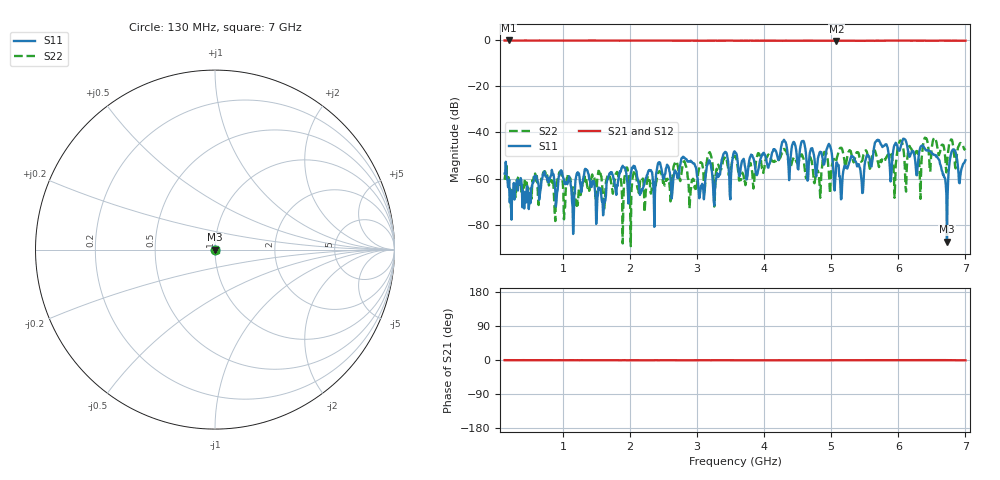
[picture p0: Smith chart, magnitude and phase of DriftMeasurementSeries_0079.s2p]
# Hz S RI R 50.000000
! Metas.Vna.Tools, 2.8.8664.20301
! Metas.Vna.Data, 2.8.8664.20285
! Created: UTC 2024.02.11 10:08:42
! FREQ  re:S1,1  im:S1,1  re:S2,1  im:S2,1  re:S1,2  im:S1,2  re:S2,2  im:S2,2
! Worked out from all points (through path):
!   801 points, 130 MHz to 7 GHz, reference 50 ohm
!   highest |S21| = -0.06 dB at 190.1 MHz (marker M1); lowest = -0.2 dB at 5.076 GHz (marker M2)
!   lowest |S11| = -87.4 dB at 6.725 GHz (marker M3), VSWR 1.00, Z = 50 - j0.00147 ohm
!   |S11| at or under -10 dB: start of sweep to end of sweep
!   |S22| runs from -89.4 to -42.2 dB; largest |S21 - S12| = 0.025
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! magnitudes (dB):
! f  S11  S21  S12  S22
! 130 MHz  -57.9  -0.1  0.0  -60.5
! 190.1 MHz  -62.5  -0.1  0.0  -59.5
! 1.281 GHz  -64.6  -0.1  0.0  -63.7
! 1.607 GHz  -73.2  -0.1  0.0  -73.0
! 1.71 GHz  -57.3  -0.1  0.0  -60.4
! 2.174 GHz  -64.8  -0.1  0.0  -59.6
! 2.423 GHz  -53.1  -0.1  0.0  -57.5
! 2.93 GHz  -53.1  -0.1  0.0  -60.8
! 3.067 GHz  -63.5  -0.2  0.0  -53.3
! 3.565 GHz  -48.4  -0.2  0.0  -50.2
! 3.711 GHz  -54.4  -0.1  0.0  -61.0
! 4.295 GHz  -43.2  -0.2  0.0  -47.1
! 4.716 GHz  -46.8  -0.2  0.0  -53.9
! 4.973 GHz  -45.4  -0.2  0.0  -62.1
! 5.076 GHz  -53.1  -0.2  0.0  -52.0
! 5.463 GHz  -66.3  -0.2  0.0  -52.3
! 5.686 GHz  -43.4  -0.1  0.0  -51.7
! 5.858 GHz  -49.7  -0.1  0.0  -49.4
! 6.365 GHz  -45.7  -0.2  0.0  -46.5
! 6.725 GHz  -87.4  -0.1  0.0  -53.9
! 6.811 GHz  -47.4  -0.2  0.0  -45.0
! 7 GHz  -52.1  -0.2  0.0  -47.6
